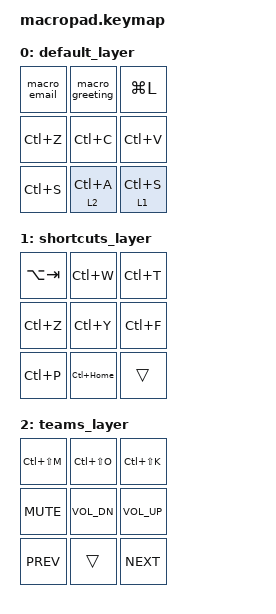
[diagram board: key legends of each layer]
/*
 * Macropad 3x3 Keymap — 3 layers
 *
 * LAYER 0 — PRODUCTIVITY (default)
 * ┌──────────────┬──────────────┬──────────────┐
 * │  Email macro │  "Hi, "      │  Win+L       │
 * ├──────────────┼──────────────┼──────────────┤
 * │  Ctrl+Z Undo │  Ctrl+C Copy │  Ctrl+V Paste│
 * ├──────────────┼──────────────┼──────────────┤
 * │  Ctrl+S Save │  tap:Ctrl+A  │  tap:Ctrl+S  │
 * │              │  hold:Layer2 │  hold:Layer1 │
 * └──────────────┴──────────────┴──────────────┘
 *
 * LAYER 1 — SHORTCUTS (hold bottom-right)
 * ┌──────────────┬──────────────┬──────────────┐
 * │  Alt+Tab     │  Ctrl+W      │  Ctrl+T      │
 * ├──────────────┼──────────────┼──────────────┤
 * │  Ctrl+Z      │  Ctrl+Y Redo │  Ctrl+F Find │
 * ├──────────────┼──────────────┼──────────────┤
 * │  Ctrl+P Print│  Ctrl+Home   │  (held)      │
 * └──────────────┴──────────────┴──────────────┘
 *
 * LAYER 2 — TEAMS / MEDIA (hold bottom-middle)
 * ┌──────────────┬──────────────┬──────────────┐
 * │  Teams Mute  │  Teams Camera│  Raise Hand  │
 * │  Ctrl+Shft+M │  Ctrl+Shft+O │  Ctrl+Shft+K │
 * ├──────────────┼──────────────┼──────────────┤
 * │  Media Mute  │  Vol Down    │  Vol Up      │
 * ├──────────────┼──────────────┼──────────────┤
 * │  Prev Track  │  (held)      │  Next Track  │
 * └──────────────┴──────────────┴──────────────┘
 *
 * HOW TO CHANGE THE EMAIL MACRO
 * ──────────────────────────────
 * Find macro_email below. Replace each &kp letter with your address.
 * Letters: &kp A through &kp Z
 * Numbers: &kp N0 through &kp N9
 * Symbols: &kp AT = @   &kp DOT = .   &kp MINUS = -   &kp UNDER = _
 * Capital: &kp LS(A) = shift+A
 *
 * Example for bob@work.com:
 *   bindings = <&kp B &kp O &kp B &kp AT &kp W &kp O &kp R &kp K &kp DOT &kp C &kp O &kp M>;
 */

#include <behaviors.dtsi>
#include <dt-bindings/zmk/keys.h>

/ {

    macros {

        /* Types your email address — edit the bindings below */
        macro_email: macro_email {
            compatible = "zmk,behavior-macro";
            label = "MACRO_EMAIL";
            #binding-cells = <0>;
            bindings = <
                &kp Y &kp O &kp U &kp R &kp DOT
                &kp E &kp M &kp A &kp I &kp L
                &kp AT
                &kp E &kp X &kp A &kp M &kp P &kp L &kp E
                &kp DOT
                &kp C &kp O &kp M
            >;
        };

        /* Types "Hi, " — ready for you to type a name */
        macro_greeting: macro_greeting {
            compatible = "zmk,behavior-macro";
            label = "MACRO_GREETING";
            #binding-cells = <0>;
            bindings = <&kp LS(H) &kp I &kp COMMA &kp SPACE>;
        };

    };

    behaviors {
        /* Hold 200ms to activate a layer, tap for the key */
        lt_fast: layer_tap_fast {
            compatible = "zmk,behavior-hold-tap";
            label = "LAYER_TAP_FAST";
            #binding-cells = <2>;
            tapping-term-ms = <200>;
            flavor = "hold-preferred";
            bindings = <&mo>, <&kp>;
        };
    };

    keymap {
        compatible = "zmk,keymap";

        default_layer {
            bindings = <
                &macro_email      &macro_greeting     &kp LG(L)
                &kp LC(Z)         &kp LC(C)           &kp LC(V)
                &kp LC(S)         &lt_fast 2 LC(A)    &lt_fast 1 LC(S)
            >;
        };

        shortcuts_layer {
            bindings = <
                &kp LA(TAB)       &kp LC(W)           &kp LC(T)
                &kp LC(Z)         &kp LC(Y)           &kp LC(F)
                &kp LC(P)         &kp LC(HOME)        &trans
            >;
        };

        teams_layer {
            bindings = <
                &kp LC(LS(M))     &kp LC(LS(O))       &kp LC(LS(K))
                &kp C_MUTE        &kp C_VOL_DN        &kp C_VOL_UP
                &kp C_PREV        &trans              &kp C_NEXT
            >;
        };

    };
};
